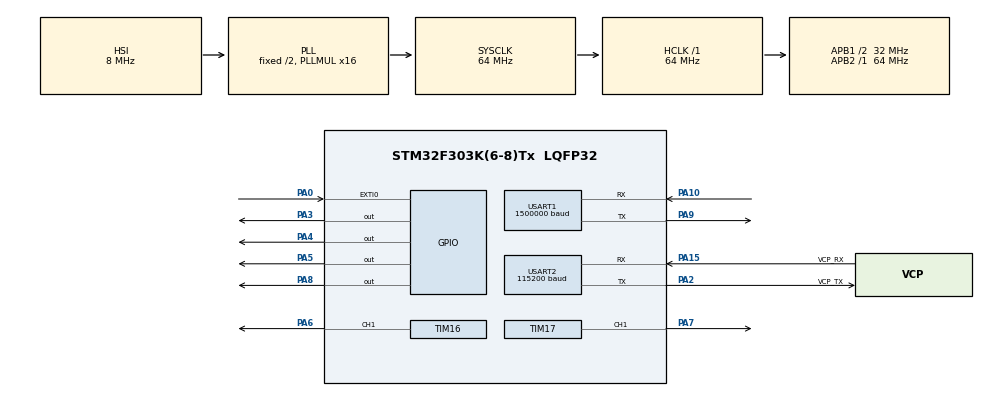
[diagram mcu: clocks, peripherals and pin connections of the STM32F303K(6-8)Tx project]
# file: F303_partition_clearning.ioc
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Mcu.Family=STM32F3
Mcu.Name=STM32F303K(6-8)Tx
Mcu.Package=LQFP32
NVIC.EXTI0_IRQn=true\:0\:0\:false\:false\:true\:true\:true
NVIC.PriorityGroup=NVIC_PRIORITYGROUP_4
PA0.GPIO_ModeDefaultEXTI=GPIO_MODE_IT_RISING_FALLING
PA0.GPIO_PuPd=GPIO_PULLUP
PA0.Signal=GPXTI0
PA10.Mode=Asynchronous
PA10.Signal=USART1_RX
PA13.GPIO_Label=SWDIO
PA13.Mode=Serial_Wire
PA13.Signal=SYS_JTMS-SWDIO
PA14.GPIO_Label=SWCLK
PA14.Mode=Serial_Wire
PA14.Signal=SYS_JTCK-SWCLK
PA15.GPIO_Label=VCP_RX
PA15.Mode=Asynchronous
PA15.Signal=USART2_RX
PA2.GPIO_Label=VCP_TX
PA2.Mode=Asynchronous
PA2.Signal=USART2_TX
PA3.Signal=GPIO_Output
PA4.Signal=GPIO_Output
PA5.Signal=GPIO_Output
PA6.Signal=S_TIM16_CH1
PA7.Signal=S_TIM17_CH1
PA8.Signal=GPIO_Output
PA9.Mode=Asynchronous
PA9.Signal=USART1_TX
PF0\ /\ OSC_IN.GPIO_Label=MCO
PF0\ /\ OSC_IN.Mode=HSE-External-Clock-Source
PF0\ /\ OSC_IN.Signal=RCC_OSC_IN
ProjectManager.HeapSize=0x200
ProjectManager.StackSize=0x400
ProjectManager.TargetToolchain=STM32CubeIDE
RCC.AHBFreq_Value=64000000
RCC.APB1CLKDivider=RCC_HCLK_DIV2
RCC.APB1Freq_Value=32000000
RCC.APB1TimFreq_Value=64000000
RCC.APB2Freq_Value=64000000
RCC.APB2TimFreq_Value=64000000
RCC.CortexFreq_Value=64000000
RCC.HCLKFreq_Value=64000000
RCC.HSE_VALUE=8000000
RCC.HSI_VALUE=8000000
RCC.PLLMUL=RCC_PLL_MUL16
RCC.SYSCLKFreq_VALUE=64000000
RCC.SYSCLKSourceVirtual=RCC_SYSCLKSOURCE_PLLCLK
SH.S_TIM16_CH1.0=TIM16_CH1,PWM Generation1 CH1
SH.S_TIM17_CH1.0=TIM17_CH1,PWM Generation1 CH1
TIM16.Channel=TIM_CHANNEL_1
TIM16.Period=255
TIM16.Prescaler=5000
TIM17.Channel=TIM_CHANNEL_1
TIM17.Period=255
TIM17.Prescaler=5000
USART1.BaudRate=1500000
USART1.VirtualMode-Asynchronous=VM_ASYNC
USART2.BaudRate=115200
USART2.VirtualMode-Asynchronous=VM_ASYNC
VP_TIM16_VS_ClockSourceINT.Mode=Enable_Timer
VP_TIM17_VS_ClockSourceINT.Mode=Enable_Timer
board=NUCLEO-F303K8

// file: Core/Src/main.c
/* USER CODE BEGIN Header */
/**
  ******************************************************************************
  * @file           : main.c
  * @brief          : Main program body
  ******************************************************************************
  * @attention
  *
  * <h2><center>&copy; Copyright (c) 2021 STMicroelectronics.
  * All rights reserved.</center></h2>
  *
  * This software component is licensed by ST under BSD 3-Clause license,
  * the "License"; You may not use this file except in compliance with the
  * License. You may obtain a copy of the License at:
  *                        opensource.org/licenses/BSD-3-Clause
  *
  ******************************************************************************
  */
/* USER CODE END Header */
#include "main.h"

/* USER CODE BEGIN Includes */
#include <stdio.h>
/* USER CODE END Includes */

TIM_HandleTypeDef htim16;
TIM_HandleTypeDef htim17;

UART_HandleTypeDef huart1;
UART_HandleTypeDef huart2;

void SystemClock_Config(void);
static void MX_GPIO_Init(void);
static void MX_USART2_UART_Init(void);
static void MX_TIM16_Init(void);
static void MX_TIM17_Init(void);
static void MX_USART1_UART_Init(void);

/* USER CODE BEGIN 0 */
uint8_t stop;

void HAL_GPIO_EXTI_Callback(uint16_t GPIO_Pin)
{
  if (GPIO_Pin == GPIO_PIN_0)
  {
    if (HAL_GPIO_ReadPin(GPIOA, GPIO_PIN_0))
    {
//      HAL_GPIO_WritePin(GPIOA, DIR_Pin, 1);
      printf("on\r\n");
      stop=0;
    }
    else if(!HAL_GPIO_ReadPin(GPIOA, GPIO_PIN_0))
    {
//      HAL_GPIO_WritePin(GPIOA, DIR_Pin, 0);
      printf("off\r\n");
      stop=1;
    }
  }
}

/* USER CODE END 0 */

int main(void)
{
  /* USER CODE BEGIN 1 */
	setbuf(stdout, NULL);
  /* USER CODE END 1 */

  /* MCU Configuration--------------------------------------------------------*/

  /* Reset of all peripherals, Initializes the Flash interface and the Systick. */
  HAL_Init();

  /* Configure the system clock */
  SystemClock_Config();

  /* Initialize all configured peripherals */
  MX_GPIO_Init();
  MX_USART2_UART_Init();
  MX_TIM16_Init();
  MX_TIM17_Init();
  MX_USART1_UART_Init();
  /* USER CODE BEGIN 2 */
  printf("start\r\n");
  short duty=1;

  HAL_TIM_PWM_Start(&htim16,TIM_CHANNEL_1);
  HAL_TIM_PWM_Start(&htim17,TIM_CHANNEL_1);

  /* USER CODE END 2 */

  /* Infinite loop */
  while (1)
  {

    /* USER CODE BEGIN 3 */
	 duty=10;
	__HAL_TIM_SET_COMPARE(&htim16,TIM_CHANNEL_1,duty);
	__HAL_TIM_SET_COMPARE(&htim17,TIM_CHANNEL_1,30-duty);
	HAL_Delay(1000);
	 duty=25;
	__HAL_TIM_SET_COMPARE(&htim16,TIM_CHANNEL_1,duty);
	__HAL_TIM_SET_COMPARE(&htim17,TIM_CHANNEL_1,30-duty);
	HAL_Delay(1000);
  }
  /* USER CODE END 3 */
}

void SystemClock_Config(void)
{
  RCC_OscInitTypeDef RCC_OscInitStruct = {0};
  RCC_ClkInitTypeDef RCC_ClkInitStruct = {0};
  RCC_PeriphCLKInitTypeDef PeriphClkInit = {0};

  /** Initializes the RCC Oscillators according to the specified parameters
  * in the RCC_OscInitTypeDef structure.
  */
  RCC_OscInitStruct.OscillatorType = RCC_OSCILLATORTYPE_HSI;
  RCC_OscInitStruct.HSIState = RCC_HSI_ON;
  RCC_OscInitStruct.HSICalibrationValue = RCC_HSICALIBRATION_DEFAULT;
  RCC_OscInitStruct.PLL.PLLState = RCC_PLL_ON;
  RCC_OscInitStruct.PLL.PLLSource = RCC_PLLSOURCE_HSI;
  RCC_OscInitStruct.PLL.PLLMUL = RCC_PLL_MUL16;
  if (HAL_RCC_OscConfig(&RCC_OscInitStruct) != HAL_OK)
  {
    Error_Handler();
  }
  /** Initializes the CPU, AHB and APB buses clocks
  */
  RCC_ClkInitStruct.ClockType = RCC_CLOCKTYPE_HCLK|RCC_CLOCKTYPE_SYSCLK
                              |RCC_CLOCKTYPE_PCLK1|RCC_CLOCKTYPE_PCLK2;
  RCC_ClkInitStruct.SYSCLKSource = RCC_SYSCLKSOURCE_PLLCLK;
  RCC_ClkInitStruct.AHBCLKDivider = RCC_SYSCLK_DIV1;
  RCC_ClkInitStruct.APB1CLKDivider = RCC_HCLK_DIV2;
  RCC_ClkInitStruct.APB2CLKDivider = RCC_HCLK_DIV1;

  if (HAL_RCC_ClockConfig(&RCC_ClkInitStruct, FLASH_LATENCY_2) != HAL_OK)
  {
    Error_Handler();
  }
  PeriphClkInit.PeriphClockSelection = RCC_PERIPHCLK_USART1;
  PeriphClkInit.Usart1ClockSelection = RCC_USART1CLKSOURCE_PCLK1;
  if (HAL_RCCEx_PeriphCLKConfig(&PeriphClkInit) != HAL_OK)
  {
    Error_Handler();
  }
}

static void MX_TIM16_Init(void)
{

  TIM_OC_InitTypeDef sConfigOC = {0};
  TIM_BreakDeadTimeConfigTypeDef sBreakDeadTimeConfig = {0};

  htim16.Instance = TIM16;
  htim16.Init.Prescaler = 5000;
  htim16.Init.CounterMode = TIM_COUNTERMODE_UP;
  htim16.Init.Period = 255;
  htim16.Init.ClockDivision = TIM_CLOCKDIVISION_DIV1;
  htim16.Init.RepetitionCounter = 0;
  htim16.Init.AutoReloadPreload = TIM_AUTORELOAD_PRELOAD_DISABLE;
  if (HAL_TIM_Base_Init(&htim16) != HAL_OK)
  {
    Error_Handler();
  }
  if (HAL_TIM_PWM_Init(&htim16) != HAL_OK)
  {
    Error_Handler();
  }
  sConfigOC.OCMode = TIM_OCMODE_PWM1;
  sConfigOC.Pulse = 0;
  sConfigOC.OCPolarity = TIM_OCPOLARITY_HIGH;
  sConfigOC.OCNPolarity = TIM_OCNPOLARITY_HIGH;
  sConfigOC.OCFastMode = TIM_OCFAST_DISABLE;
  sConfigOC.OCIdleState = TIM_OCIDLESTATE_RESET;
  sConfigOC.OCNIdleState = TIM_OCNIDLESTATE_RESET;
  if (HAL_TIM_PWM_ConfigChannel(&htim16, &sConfigOC, TIM_CHANNEL_1) != HAL_OK)
  {
    Error_Handler();
  }
  sBreakDeadTimeConfig.OffStateRunMode = TIM_OSSR_DISABLE;
  sBreakDeadTimeConfig.OffStateIDLEMode = TIM_OSSI_DISABLE;
  sBreakDeadTimeConfig.LockLevel = TIM_LOCKLEVEL_OFF;
  sBreakDeadTimeConfig.DeadTime = 0;
  sBreakDeadTimeConfig.BreakState = TIM_BREAK_DISABLE;
  sBreakDeadTimeConfig.BreakPolarity = TIM_BREAKPOLARITY_HIGH;
  sBreakDeadTimeConfig.BreakFilter = 0;
  sBreakDeadTimeConfig.AutomaticOutput = TIM_AUTOMATICOUTPUT_DISABLE;
  if (HAL_TIMEx_ConfigBreakDeadTime(&htim16, &sBreakDeadTimeConfig) != HAL_OK)
  {
    Error_Handler();
  }
  HAL_TIM_MspPostInit(&htim16);

}

static void MX_TIM17_Init(void)
{

  TIM_OC_InitTypeDef sConfigOC = {0};
  TIM_BreakDeadTimeConfigTypeDef sBreakDeadTimeConfig = {0};

  htim17.Instance = TIM17;
  htim17.Init.Prescaler = 5000;
  htim17.Init.CounterMode = TIM_COUNTERMODE_UP;
  htim17.Init.Period = 255;
  htim17.Init.ClockDivision = TIM_CLOCKDIVISION_DIV1;
  htim17.Init.RepetitionCounter = 0;
  htim17.Init.AutoReloadPreload = TIM_AUTORELOAD_PRELOAD_DISABLE;
  if (HAL_TIM_Base_Init(&htim17) != HAL_OK)
  {
    Error_Handler();
  }
  if (HAL_TIM_PWM_Init(&htim17) != HAL_OK)
  {
    Error_Handler();
  }
  sConfigOC.OCMode = TIM_OCMODE_PWM1;
  sConfigOC.Pulse = 0;
  sConfigOC.OCPolarity = TIM_OCPOLARITY_HIGH;
  sConfigOC.OCNPolarity = TIM_OCNPOLARITY_HIGH;
  sConfigOC.OCFastMode = TIM_OCFAST_DISABLE;
  sConfigOC.OCIdleState = TIM_OCIDLESTATE_RESET;
  sConfigOC.OCNIdleState = TIM_OCNIDLESTATE_RESET;
  if (HAL_TIM_PWM_ConfigChannel(&htim17, &sConfigOC, TIM_CHANNEL_1) != HAL_OK)
  {
    Error_Handler();
  }
  sBreakDeadTimeConfig.OffStateRunMode = TIM_OSSR_DISABLE;
  sBreakDeadTimeConfig.OffStateIDLEMode = TIM_OSSI_DISABLE;
  sBreakDeadTimeConfig.LockLevel = TIM_LOCKLEVEL_OFF;
  sBreakDeadTimeConfig.DeadTime = 0;
  sBreakDeadTimeConfig.BreakState = TIM_BREAK_DISABLE;
  sBreakDeadTimeConfig.BreakPolarity = TIM_BREAKPOLARITY_HIGH;
  sBreakDeadTimeConfig.BreakFilter = 0;
  sBreakDeadTimeConfig.AutomaticOutput = TIM_AUTOMATICOUTPUT_DISABLE;
  if (HAL_TIMEx_ConfigBreakDeadTime(&htim17, &sBreakDeadTimeConfig) != HAL_OK)
  {
    Error_Handler();
  }
  HAL_TIM_MspPostInit(&htim17);

}

static void MX_USART1_UART_Init(void)
{

  huart1.Instance = USART1;
  huart1.Init.BaudRate = 1500000;
  huart1.Init.WordLength = UART_WORDLENGTH_8B;
  huart1.Init.StopBits = UART_STOPBITS_1;
  huart1.Init.Parity = UART_PARITY_NONE;
  huart1.Init.Mode = UART_MODE_TX_RX;
  huart1.Init.HwFlowCtl = UART_HWCONTROL_NONE;
  huart1.Init.OverSampling = UART_OVERSAMPLING_16;
  huart1.Init.OneBitSampling = UART_ONE_BIT_SAMPLE_DISABLE;
  huart1.AdvancedInit.AdvFeatureInit = UART_ADVFEATURE_NO_INIT;
  if (HAL_UART_Init(&huart1) != HAL_OK)
  {
    Error_Handler();
  }

}

static void MX_USART2_UART_Init(void)
{

  huart2.Instance = USART2;
  huart2.Init.BaudRate = 115200;
  huart2.Init.WordLength = UART_WORDLENGTH_8B;
  huart2.Init.StopBits = UART_STOPBITS_1;
  huart2.Init.Parity = UART_PARITY_NONE;
  huart2.Init.Mode = UART_MODE_TX_RX;
  huart2.Init.HwFlowCtl = UART_HWCONTROL_NONE;
  huart2.Init.OverSampling = UART_OVERSAMPLING_16;
  huart2.Init.OneBitSampling = UART_ONE_BIT_SAMPLE_DISABLE;
  huart2.AdvancedInit.AdvFeatureInit = UART_ADVFEATURE_NO_INIT;
  if (HAL_UART_Init(&huart2) != HAL_OK)
  {
    Error_Handler();
  }

}

static void MX_GPIO_Init(void)
{
  GPIO_InitTypeDef GPIO_InitStruct = {0};

  /* GPIO Ports Clock Enable */
  __HAL_RCC_GPIOF_CLK_ENABLE();
  __HAL_RCC_GPIOA_CLK_ENABLE();

  /*Configure GPIO pin Output Level */
  HAL_GPIO_WritePin(GPIOA, GPIO_PIN_3|GPIO_PIN_4|GPIO_PIN_5|GPIO_PIN_8, GPIO_PIN_RESET);

  /*Configure GPIO pin : PA0 */
  GPIO_InitStruct.Pin = GPIO_PIN_0;
  GPIO_InitStruct.Mode = GPIO_MODE_IT_RISING_FALLING;
  GPIO_InitStruct.Pull = GPIO_PULLUP;
  HAL_GPIO_Init(GPIOA, &GPIO_InitStruct);

  /*Configure GPIO pins : PA3 PA4 PA5 PA8 */
  GPIO_InitStruct.Pin = GPIO_PIN_3|GPIO_PIN_4|GPIO_PIN_5|GPIO_PIN_8;
  GPIO_InitStruct.Mode = GPIO_MODE_OUTPUT_PP;
  GPIO_InitStruct.Pull = GPIO_NOPULL;
  GPIO_InitStruct.Speed = GPIO_SPEED_FREQ_LOW;
  HAL_GPIO_Init(GPIOA, &GPIO_InitStruct);

  /* EXTI interrupt init*/
  HAL_NVIC_SetPriority(EXTI0_IRQn, 0, 0);
  HAL_NVIC_EnableIRQ(EXTI0_IRQn);

}

/* USER CODE BEGIN 4 */

int _write(int file, char *ptr, int len)
{
  HAL_UART_Transmit(&huart2,(uint8_t *)ptr,len,10);
  return len;
}

/* USER CODE END 4 */

void Error_Handler(void)
{
  __disable_irq();
  while (1)
  {
  }
}

/************************ (C) COPYRIGHT STMicroelectronics *****END OF FILE****/
